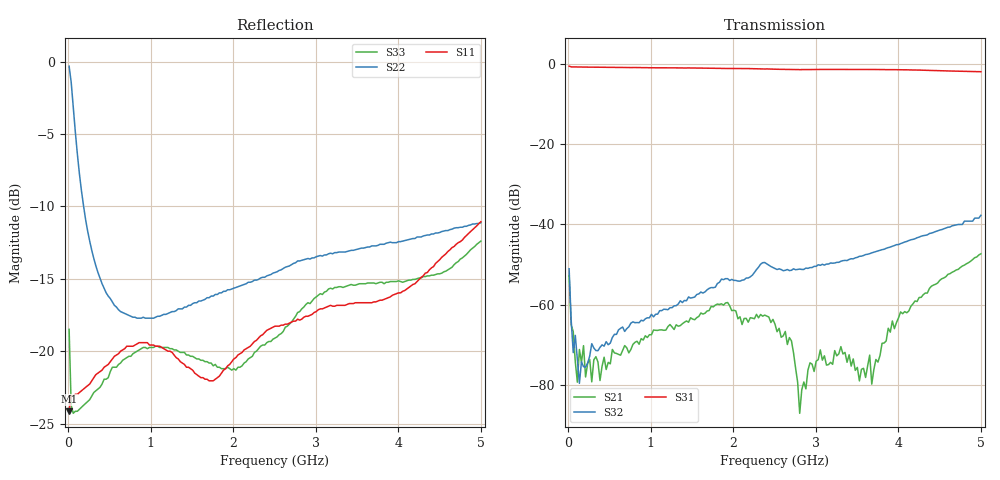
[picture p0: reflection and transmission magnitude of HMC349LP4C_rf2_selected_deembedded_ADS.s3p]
!Hittite Microwave Corporation
!12 Elizabeth Drive
!Chelmsford, MA 01824
!Tel: 978-250-3343
!Fax: 978-250-3373
!Device: HMC349LP4C, DC - 4 GHz High Isolation SPDT Non-Reflective Switch in Low Cost Leadless SMT Package
!Misc: Port1=RFC, Port2= RF1, Port3=RF2, RF2 ON, Bias: +5VDC
# MHZ S MA R 50
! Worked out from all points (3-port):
!   201 points, 10 MHz to 5 GHz, reference 50 ohm
!   strongest paths, dB at 10 MHz, 1.258 GHz, 2.505 GHz, 3.752 GHz, 5 GHz:
!     S31: -0.5, -0.9, -1.3, -1.4, -1.9
!     S32: -51.1, -60.8, -51.0, -46.6, -37.7
!     S21: -52.6, -65.6, -64.9, -74.3, -47.3
!   lowest |S11| = -24.2 dB at 10 MHz (marker M1), VSWR 1.13, Z = 54.8 + j4.35 ohm
!   |S11| at or under -10 dB: start of sweep to end of sweep
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10  0.062 39.6  0.001606 41.6  0.947 -3.6
    0.002331 -61.1  0.965 -9.5  0.004202 101.1
    0.943 -6.0  0.002801 -168.7  0.119 57.5
59.9  0.07 -0.6  0.0004208 -56.1  0.922 -3.3
      0.0004613 -26.8  0.699 -43.3  0.0002701 -159.4
      0.923 -3.4  0.0002523 -52.9  0.061 -1.0
109.8  0.071 -12.5  7.492e-05 -98.5  0.921 -5.1
       0.0001079 -61.4  0.48 -58.3  0.0001373 53.6
       0.919 -5.1  0.000206 -10.9  0.062 -11.2
134.75  0.072 -16.4  0.0002059 -79.9  0.921 -6.1
        0.0002758 -33.0  0.41 -62.3  0.0001359 -24.8
        0.92 -6.1  0.0001043 -63.0  0.063 -13.7
1781.45  0.08 -82.4  0.001021 33.0  0.887 -72.6
         0.0009864 35.6  0.157 -47.8  0.001775 101.0
         0.886 -72.6  0.001649 100.8  0.09 -66.6
2505  0.122 -78.6  0.0005025 -30.4  0.865 -102.0
      0.0005699 -27.7  0.187 -37.8  0.002895 73.8
      0.865 -102.1  0.002828 73.4  0.111 -33.3
2754.5  0.127 -84.0  0.000103 -122.3  0.855 -111.6
        0.0001615 -58.2  0.202 -36.1  0.002765 77.7
        0.855 -111.7  0.002724 78.8  0.132 -26.6
3677.65  0.147 -137.6  0.0002271 -54.0  0.859 -150.6
         0.0001019 -38.4  0.231 -34.9  0.004375 85.7
         0.858 -150.5  0.004425 85.8  0.172 -30.4
3927.15  0.156 -158.3  0.0005411 -130.6  0.854 -161.8
         0.0006254 -124.2  0.237 -34.9  0.005418 84.6
         0.853 -161.7  0.00535 85.2  0.174 -29.1
5000  0.28 107.2  0.004299 169.5  0.804 147.2
      0.004305 169.9  0.278 -34.8  0.013 70.4
      0.804 147.2  0.013 70.6  0.24 -15.1
